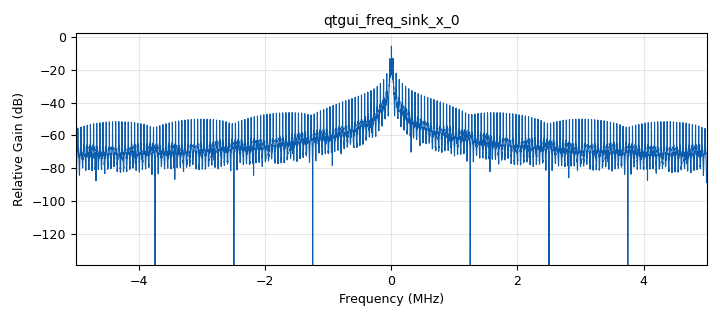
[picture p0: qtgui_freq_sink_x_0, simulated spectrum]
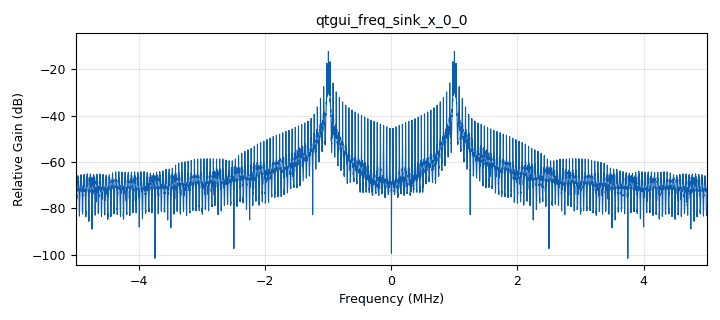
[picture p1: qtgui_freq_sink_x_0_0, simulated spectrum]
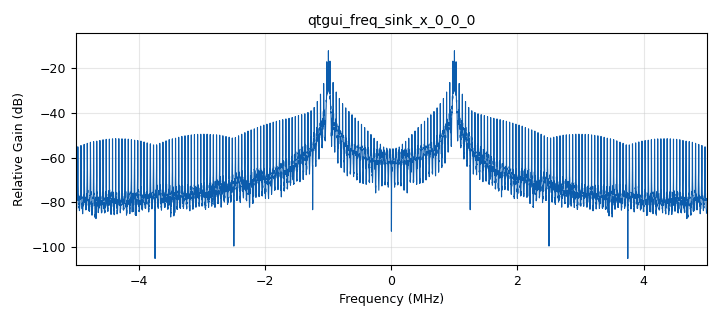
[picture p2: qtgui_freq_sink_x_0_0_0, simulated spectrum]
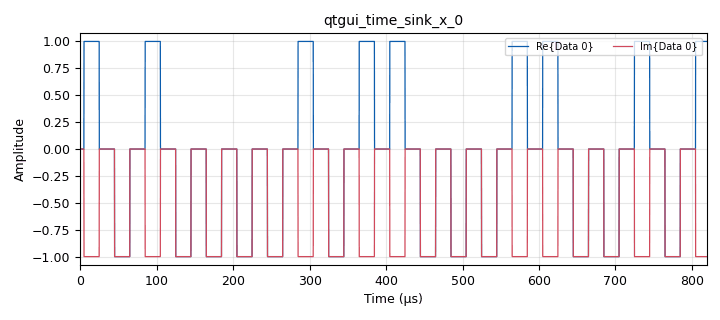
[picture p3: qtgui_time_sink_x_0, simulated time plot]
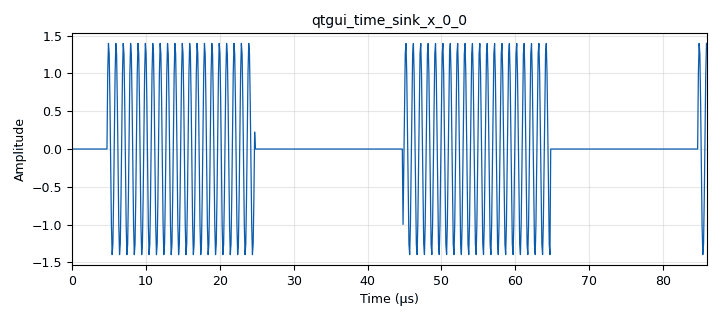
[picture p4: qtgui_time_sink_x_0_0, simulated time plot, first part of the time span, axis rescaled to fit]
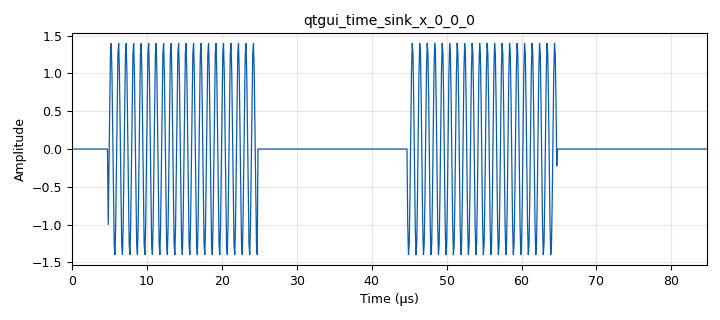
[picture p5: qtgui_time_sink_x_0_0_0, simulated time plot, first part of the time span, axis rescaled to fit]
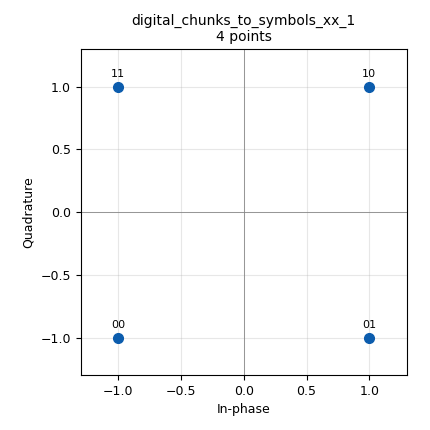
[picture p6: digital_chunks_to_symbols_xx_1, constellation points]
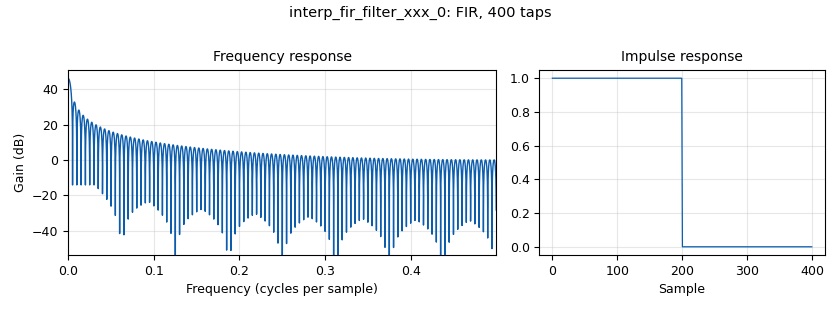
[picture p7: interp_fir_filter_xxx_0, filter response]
options:
  parameters:
    generate_options: qt_gui
    id: Que3
    output_language: python
    title: Not titled yet
  states: {}

blocks:
- name: NRZ
  id: variable
  parameters:
    value: numpy.ones(interpolation_factor)
  states: {}
- name: RZ
  id: variable
  parameters:
    value: numpy.array([1] * (interpolation_factor // 2) + [0] * (interpolation_factor - interpolation_factor // 2))
  states: {}
- name: bit_rate
  id: variable
  parameters:
    value: '100000'
  states: {}
- name: interpolation_factor
  id: variable
  parameters:
    value: samp_rate//symbol_rate
  states: {}
- name: manchester
  id: variable
  parameters:
    value: numpy.array([1] * (interpolation_factor // 2) + [-1] * (interpolation_factor - interpolation_factor // 2))
  states: {}
- name: pulse_shaper
  id: variable
  parameters:
    value: RZ
  states: {}
- name: qpsk
  id: variable
  parameters:
    value: '[-1-1j, +1-1j, 1+1j,-1+1j]'
  states: {}
- name: samp_rate
  id: variable
  parameters:
    value: '10000000'
  states: {}
- name: symbol_rate
  id: variable
  parameters:
    value: bit_rate//4
  states: {}
- name: analog_random_source_x_0
  id: analog_random_source_x
  parameters:
    max: '2'
    min: '0'
    num_samps: '8092'
    repeat: 'False'
    type: byte
  states: {}
- name: analog_sig_source_x_0
  id: analog_sig_source_x
  parameters:
    amp: '1'
    freq: '1000000'
    offset: '0'
    phase: '0'
    samp_rate: samp_rate
    type: complex
    waveform: analog.GR_COS_WAVE
  states: {}
- name: analog_sig_source_x_0_0
  id: analog_sig_source_x
  parameters:
    amp: '1'
    freq: '1000000'
    offset: '0'
    phase: '0'
    samp_rate: samp_rate
    type: complex
    waveform: analog.GR_COS_WAVE
  states: {}
- name: blocks_complex_to_imag_0
  id: blocks_complex_to_imag
  parameters: {}
  states: {}
- name: blocks_complex_to_real_0
  id: blocks_complex_to_real
  parameters: {}
  states: {}
- name: blocks_multiply_xx_0
  id: blocks_multiply_xx
  parameters:
    type: complex
  states: {}
- name: blocks_multiply_xx_0_0
  id: blocks_multiply_xx
  parameters:
    type: complex
  states: {}
- name: blocks_throttle2_0
  id: blocks_throttle2
  parameters:
    samples_per_second: samp_rate
    type: complex
  states: {}
- name: digital_chunks_to_symbols_xx_1
  id: digital_chunks_to_symbols_xx
  parameters:
    dimension: '1'
    in_type: byte
    out_type: complex
    symbol_table: qpsk
  states: {}
- name: import_0_0
  id: import
  parameters:
    imports: import numpy
  states: {}
- name: interp_fir_filter_xxx_0
  id: interp_fir_filter_xxx
  parameters:
    interp: interpolation_factor
    taps: pulse_shaper
    type: ccc
  states: {}
- name: qtgui_freq_sink_x_0
  id: qtgui_freq_sink_x
  parameters:
    autoscale: 'True'
    average: '0.05'
    bw: samp_rate
    fc: '0'
    fftsize: '8192'
    type: complex
    wintype: window.WIN_RECTANGULAR
  states: {}
- name: qtgui_freq_sink_x_0_0
  id: qtgui_freq_sink_x
  parameters:
    autoscale: 'True'
    average: '0.05'
    bw: samp_rate
    fc: '0'
    fftsize: '8192'
    type: float
    wintype: window.WIN_RECTANGULAR
  states: {}
- name: qtgui_freq_sink_x_0_0_0
  id: qtgui_freq_sink_x
  parameters:
    autoscale: 'True'
    average: '0.05'
    bw: samp_rate
    fc: '0'
    fftsize: '8192'
    type: float
    wintype: window.WIN_RECTANGULAR
  states: {}
- name: qtgui_time_sink_x_0
  id: qtgui_time_sink_x
  parameters:
    size: '8192'
    srate: samp_rate
    type: complex
  states: {}
- name: qtgui_time_sink_x_0_0
  id: qtgui_time_sink_x
  parameters:
    size: '8192'
    srate: samp_rate
    type: float
  states: {}
- name: qtgui_time_sink_x_0_0_0
  id: qtgui_time_sink_x
  parameters:
    size: '8192'
    srate: samp_rate
    type: float
  states: {}
- name: virtual_sink_0
  id: virtual_sink
  parameters:
    stream_id: passband
  states: {}
- name: virtual_source_0
  id: virtual_source
  parameters:
    stream_id: passband
  states: {}
- name: virtual_source_0_0
  id: virtual_source
  parameters:
    stream_id: passband
  states: {}

connections:
- [analog_random_source_x_0, '0', digital_chunks_to_symbols_xx_1, '0']
- [analog_sig_source_x_0, '0', blocks_multiply_xx_0, '1']
- [analog_sig_source_x_0_0, '0', blocks_multiply_xx_0_0, '1']
- [blocks_complex_to_imag_0, '0', qtgui_freq_sink_x_0_0_0, '0']
- [blocks_complex_to_imag_0, '0', qtgui_time_sink_x_0_0_0, '0']
- [blocks_complex_to_real_0, '0', qtgui_freq_sink_x_0_0, '0']
- [blocks_complex_to_real_0, '0', qtgui_time_sink_x_0_0, '0']
- [blocks_multiply_xx_0, '0', blocks_complex_to_real_0, '0']
- [blocks_multiply_xx_0_0, '0', blocks_complex_to_imag_0, '0']
- [blocks_throttle2_0, '0', qtgui_freq_sink_x_0, '0']
- [blocks_throttle2_0, '0', qtgui_time_sink_x_0, '0']
- [blocks_throttle2_0, '0', virtual_sink_0, '0']
- [digital_chunks_to_symbols_xx_1, '0', interp_fir_filter_xxx_0, '0']
- [interp_fir_filter_xxx_0, '0', blocks_throttle2_0, '0']
- [virtual_source_0, '0', blocks_multiply_xx_0, '0']
- [virtual_source_0_0, '0', blocks_multiply_xx_0_0, '0']

metadata:
  file_format: 1
  grc_version: 3.10.10.0
